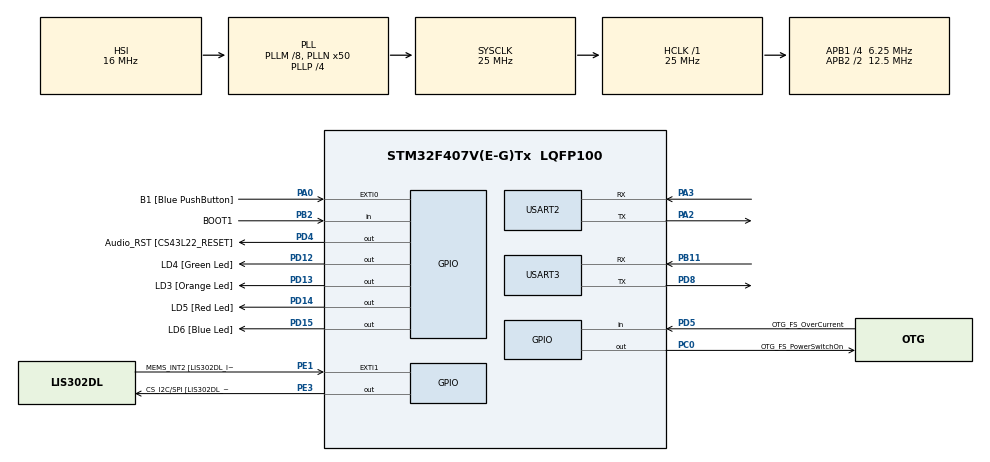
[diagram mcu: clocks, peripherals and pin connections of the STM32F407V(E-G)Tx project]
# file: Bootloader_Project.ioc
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Mcu.Family=STM32F4
Mcu.Name=STM32F407V(E-G)Tx
Mcu.Package=LQFP100
NVIC.PriorityGroup=NVIC_PRIORITYGROUP_0
PA0-WKUP.GPIO_Label=B1 [Blue PushButton]
PA0-WKUP.Signal=GPXTI0
PA10.GPIO_Label=OTG_FS_ID
PA10.GPIO_Mode=GPIO_MODE_AF_PP
PA10.GPIO_PuPd=GPIO_NOPULL
PA10.GPIO_Speed=GPIO_SPEED_FREQ_LOW
PA10.Signal=USB_OTG_FS_ID
PA11.GPIO_Label=OTG_FS_DM
PA11.GPIO_Mode=GPIO_MODE_AF_PP
PA11.GPIO_PuPd=GPIO_NOPULL
PA11.GPIO_Speed=GPIO_SPEED_FREQ_LOW
PA11.Signal=USB_OTG_FS_DM
PA12.GPIO_Label=OTG_FS_DP
PA12.GPIO_Mode=GPIO_MODE_AF_PP
PA12.GPIO_PuPd=GPIO_NOPULL
PA12.GPIO_Speed=GPIO_SPEED_FREQ_LOW
PA12.Signal=USB_OTG_FS_DP
PA13.GPIO_Label=SWDIO
PA13.Signal=SYS_JTMS-SWDIO
PA14.GPIO_Label=SWCLK
PA14.Signal=SYS_JTCK-SWCLK
PA2.Mode=Asynchronous
PA2.Signal=USART2_TX
PA3.Mode=Asynchronous
PA3.Signal=USART2_RX
PA4.GPIO_Label=I2S3_WS [CS43L22_LRCK]
PA4.GPIO_Mode=GPIO_MODE_AF_PP
PA4.GPIO_PuPd=GPIO_NOPULL
PA4.GPIO_Speed=GPIO_SPEED_FREQ_LOW
PA4.Signal=I2S3_WS
PA5.GPIO_Label=SPI1_SCK [LIS302DL_SCL/SPC]
PA5.GPIO_Mode=GPIO_MODE_AF_PP
PA5.GPIO_PuPd=GPIO_NOPULL
PA5.GPIO_Speed=GPIO_SPEED_FREQ_LOW
PA5.Signal=SPI1_SCK
PA6.GPIO_Label=SPI1_MISO [LIS302DL_SDO]
PA6.GPIO_Mode=GPIO_MODE_AF_PP
PA6.GPIO_PuPd=GPIO_NOPULL
PA6.GPIO_Speed=GPIO_SPEED_FREQ_LOW
PA6.Signal=SPI1_MISO
PA7.GPIO_Label=SPI1_MOSI [LIS302DL_SDA/SDI/SDO]
PA7.GPIO_Mode=GPIO_MODE_AF_PP
PA7.GPIO_PuPd=GPIO_NOPULL
PA7.GPIO_Speed=GPIO_SPEED_FREQ_LOW
PA7.Signal=SPI1_MOSI
PA9.GPIO_Label=VBUS_FS
PA9.GPIO_Mode=GPIO_MODE_INPUT
PA9.GPIO_PuPd=GPIO_NOPULL
PA9.Signal=USB_OTG_FS_VBUS
PB10.GPIO_Label=CLK_IN [MP45DT02_CLK]
PB10.GPIO_Mode=GPIO_MODE_AF_PP
PB10.GPIO_PuPd=GPIO_NOPULL
PB10.GPIO_Speed=GPIO_SPEED_FREQ_LOW
PB10.Signal=I2S2_CK
PB11.Mode=Asynchronous
PB11.Signal=USART3_RX
PB2.GPIO_Label=BOOT1
PB2.GPIO_Mode=GPIO_MODE_INPUT
PB2.GPIO_PuPd=GPIO_NOPULL
PB2.Signal=GPIO_Input
PB3.GPIO_Label=SWO
PB3.Signal=SYS_JTDO-SWO
PB6.GPIO_Label=Audio_SCL [CS43L22_SCL]
PB6.GPIO_Mode=GPIO_MODE_AF_OD
PB6.GPIO_PuPd=GPIO_NOPULL
PB6.GPIO_Speed=GPIO_SPEED_FREQ_LOW
PB6.Signal=I2C1_SCL
PB9.GPIO_Label=Audio_SDA [CS43L22_SDA]
PB9.GPIO_Mode=GPIO_MODE_AF_OD
PB9.GPIO_PuPd=GPIO_NOPULL
PB9.GPIO_Speed=GPIO_SPEED_FREQ_LOW
PB9.Signal=I2C1_SDA
PC0.GPIO_Label=OTG_FS_PowerSwitchOn
PC0.GPIO_PuPd=GPIO_NOPULL
PC0.GPIO_Speed=GPIO_SPEED_FREQ_LOW
PC0.PinState=GPIO_PIN_SET
PC0.Signal=GPIO_Output
PC10.GPIO_Label=I2S3_SCK [CS43L22_SCLK]
PC10.GPIO_Mode=GPIO_MODE_AF_PP
PC10.GPIO_PuPd=GPIO_NOPULL
PC10.GPIO_Speed=GPIO_SPEED_FREQ_LOW
PC10.Signal=I2S3_CK
PC12.GPIO_Label=I2S3_SD [CS43L22_SDIN]
PC12.GPIO_Mode=GPIO_MODE_AF_PP
PC12.GPIO_PuPd=GPIO_NOPULL
PC12.GPIO_Speed=GPIO_SPEED_FREQ_LOW
PC12.Signal=I2S3_SD
PC14-OSC32_IN.GPIO_Label=PC14-OSC32_IN
PC14-OSC32_IN.Signal=RCC_OSC32_IN
PC15-OSC32_OUT.GPIO_Label=PC15-OSC32_OUT
PC15-OSC32_OUT.Signal=RCC_OSC32_OUT
PC3.GPIO_Label=PDM_OUT [MP45DT02_DOUT]
PC3.GPIO_Mode=GPIO_MODE_AF_PP
PC3.GPIO_PuPd=GPIO_NOPULL
PC3.GPIO_Speed=GPIO_SPEED_FREQ_LOW
PC3.Signal=I2S2_SD
PC7.GPIO_Label=I2S3_MCK [CS43L22_MCLK]
PC7.GPIO_Mode=GPIO_MODE_AF_PP
PC7.GPIO_PuPd=GPIO_NOPULL
PC7.GPIO_Speed=GPIO_SPEED_FREQ_LOW
PC7.Signal=I2S3_MCK
PD12.GPIO_Label=LD4 [Green Led]
PD12.GPIO_PuPd=GPIO_NOPULL
PD12.GPIO_Speed=GPIO_SPEED_FREQ_LOW
PD12.Signal=GPIO_Output
PD13.GPIO_Label=LD3 [Orange Led]
PD13.GPIO_PuPd=GPIO_NOPULL
PD13.GPIO_Speed=GPIO_SPEED_FREQ_LOW
PD13.Signal=GPIO_Output
PD14.GPIO_Label=LD5 [Red Led]
PD14.GPIO_PuPd=GPIO_NOPULL
PD14.GPIO_Speed=GPIO_SPEED_FREQ_LOW
PD14.Signal=GPIO_Output
PD15.GPIO_Label=LD6 [Blue Led]
PD15.GPIO_PuPd=GPIO_NOPULL
PD15.GPIO_Speed=GPIO_SPEED_FREQ_LOW
PD15.Signal=GPIO_Output
PD4.GPIO_Label=Audio_RST [CS43L22_RESET]
PD4.GPIO_PuPd=GPIO_NOPULL
PD4.GPIO_Speed=GPIO_SPEED_FREQ_LOW
PD4.Signal=GPIO_Output
PD5.GPIO_Label=OTG_FS_OverCurrent
PD5.GPIO_Mode=GPIO_MODE_INPUT
PD5.GPIO_PuPd=GPIO_NOPULL
PD5.Signal=GPIO_Input
PD8.Mode=Asynchronous
PD8.Signal=USART3_TX
PE1.GPIO_Label=MEMS_INT2 [LIS302DL_INT2]
PE1.GPIO_ModeDefaultEXTI=GPIO_MODE_EVT_RISING
PE1.GPIO_PuPd=GPIO_NOPULL
PE1.Signal=GPXTI1
PE3.GPIO_Label=CS_I2C/SPI [LIS302DL_CS_I2C/SPI]
PE3.GPIO_PuPd=GPIO_NOPULL
PE3.GPIO_Speed=GPIO_SPEED_FREQ_LOW
PE3.Signal=GPIO_Output
PH0-OSC_IN.GPIO_Label=PH0-OSC_IN
PH0-OSC_IN.Signal=RCC_OSC_IN
PH1-OSC_OUT.GPIO_Label=PH1-OSC_OUT
PH1-OSC_OUT.Signal=RCC_OSC_OUT
ProjectManager.HeapSize=0x200
ProjectManager.StackSize=0x400
ProjectManager.TargetToolchain=MDK-ARM V5.32
RCC.48MHZClocksFreq_Value=14285714.285714285
RCC.AHBFreq_Value=25000000
RCC.APB1CLKDivider=RCC_HCLK_DIV4
RCC.APB1Freq_Value=6250000
RCC.APB1TimFreq_Value=12500000
RCC.APB2CLKDivider=RCC_HCLK_DIV2
RCC.APB2Freq_Value=12500000
RCC.APB2TimFreq_Value=25000000
RCC.CortexFreq_Value=25000000
RCC.HCLKFreq_Value=25000000
RCC.HSE_VALUE=8000000
RCC.HSI_VALUE=16000000
RCC.LSE_VALUE=32768
RCC.PLLM=8
RCC.PLLN=50
RCC.PLLP=RCC_PLLP_DIV4
RCC.PLLQ=7
RCC.SYSCLKFreq_VALUE=25000000
RCC.SYSCLKSource=RCC_SYSCLKSOURCE_PLLCLK
RCC.VCOOutputFreq_Value=100000000
USART2.VirtualMode=VM_ASYNC
USART3.VirtualMode=VM_ASYNC
VP_CRC_VS_CRC.Mode=CRC_Activate
board=STM32F407G-DISC1

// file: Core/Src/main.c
/* USER CODE BEGIN Header */
/**
  ******************************************************************************
  * @file           : main.c
  * @brief          : Main program body
  ******************************************************************************
  * @attention
  *
  * Copyright (c) 2023 STMicroelectronics.
  * All rights reserved.
  *
  * This software is licensed under terms that can be found in the LICENSE file
  * in the root directory of this software component.
  * If no LICENSE file comes with this software, it is provided AS-IS.
  *
  ******************************************************************************
  */
/* USER CODE END Header */
#include "main.h"
#include "string.h"
#include "stm32f4xx_hal.h"

/* USER CODE BEGIN PM */
#define MAX_COMMAND_LEN 100
/* USER CODE END PM */

CRC_HandleTypeDef hcrc;

UART_HandleTypeDef huart2;
UART_HandleTypeDef huart3;

/* USER CODE BEGIN PV */
uint8_t Command_Rcv_Buffer[MAX_COMMAND_LEN];

/* USER CODE END PV */

void SystemClock_Config(void);
static void MX_GPIO_Init(void);
static void MX_CRC_Init(void);
static void MX_USART2_UART_Init(void);
static void MX_USART3_UART_Init(void);

int main(void)
{
  /* USER CODE BEGIN 1 */
     uint32_t tick_cnt;
  /* USER CODE END 1 */

  /* MCU Configuration--------------------------------------------------------*/

  /* Reset of all peripherals, Initializes the Flash interface and the Systick. */
  HAL_Init();

  /* Configure the system clock */
  SystemClock_Config();

  /* Initialize all configured peripherals */
  MX_GPIO_Init();
  MX_CRC_Init();
  MX_USART2_UART_Init();
  MX_USART3_UART_Init();

  /* Infinite loop */
  while (1)
  {
		//When button is pressed
		if(GPIO_PIN_SET == HAL_GPIO_ReadPin(B1_GPIO_Port, B1_Pin))
		{
			bootloader_uart_read_data();
		}
		else
		{
			bootloader_jump_to_usr_application();
		}
  }
}

void SystemClock_Config(void)
{
  RCC_OscInitTypeDef RCC_OscInitStruct = {0};
  RCC_ClkInitTypeDef RCC_ClkInitStruct = {0};

  /** Configure the main internal regulator output voltage
  */
  __HAL_RCC_PWR_CLK_ENABLE();
  __HAL_PWR_VOLTAGESCALING_CONFIG(PWR_REGULATOR_VOLTAGE_SCALE1);

  /** Initializes the RCC Oscillators according to the specified parameters
  * in the RCC_OscInitTypeDef structure.
  */
  RCC_OscInitStruct.OscillatorType = RCC_OSCILLATORTYPE_HSI;
  RCC_OscInitStruct.HSIState = RCC_HSI_ON;
  RCC_OscInitStruct.HSICalibrationValue = RCC_HSICALIBRATION_DEFAULT;
  RCC_OscInitStruct.PLL.PLLState = RCC_PLL_ON;
  RCC_OscInitStruct.PLL.PLLSource = RCC_PLLSOURCE_HSI;
  RCC_OscInitStruct.PLL.PLLM = 8;
  RCC_OscInitStruct.PLL.PLLN = 50;
  RCC_OscInitStruct.PLL.PLLP = RCC_PLLP_DIV4;
  RCC_OscInitStruct.PLL.PLLQ = 7;
  if (HAL_RCC_OscConfig(&RCC_OscInitStruct) != HAL_OK)
  {
    Error_Handler();
  }

  /** Initializes the CPU, AHB and APB buses clocks
  */
  RCC_ClkInitStruct.ClockType = RCC_CLOCKTYPE_HCLK|RCC_CLOCKTYPE_SYSCLK
                              |RCC_CLOCKTYPE_PCLK1|RCC_CLOCKTYPE_PCLK2;
  RCC_ClkInitStruct.SYSCLKSource = RCC_SYSCLKSOURCE_PLLCLK;
  RCC_ClkInitStruct.AHBCLKDivider = RCC_SYSCLK_DIV1;
  RCC_ClkInitStruct.APB1CLKDivider = RCC_HCLK_DIV4;
  RCC_ClkInitStruct.APB2CLKDivider = RCC_HCLK_DIV2;

  if (HAL_RCC_ClockConfig(&RCC_ClkInitStruct, FLASH_LATENCY_0) != HAL_OK)
  {
    Error_Handler();
  }
}

static void MX_CRC_Init(void)
{

  hcrc.Instance = CRC;
  if (HAL_CRC_Init(&hcrc) != HAL_OK)
  {
    Error_Handler();
  }

}

static void MX_USART2_UART_Init(void)
{

  huart2.Instance = USART2;
  huart2.Init.BaudRate = 115200;
  huart2.Init.WordLength = UART_WORDLENGTH_8B;
  huart2.Init.StopBits = UART_STOPBITS_1;
  huart2.Init.Parity = UART_PARITY_NONE;
  huart2.Init.Mode = UART_MODE_TX_RX;
  huart2.Init.HwFlowCtl = UART_HWCONTROL_NONE;
  huart2.Init.OverSampling = UART_OVERSAMPLING_16;
  if (HAL_UART_Init(&huart2) != HAL_OK)
  {
    Error_Handler();
  }

}

static void MX_USART3_UART_Init(void)
{

  huart3.Instance = USART3;
  huart3.Init.BaudRate = 115200;
  huart3.Init.WordLength = UART_WORDLENGTH_8B;
  huart3.Init.StopBits = UART_STOPBITS_1;
  huart3.Init.Parity = UART_PARITY_NONE;
  huart3.Init.Mode = UART_MODE_TX_RX;
  huart3.Init.HwFlowCtl = UART_HWCONTROL_NONE;
  huart3.Init.OverSampling = UART_OVERSAMPLING_16;
  if (HAL_UART_Init(&huart3) != HAL_OK)
  {
    Error_Handler();
  }

}

static void MX_GPIO_Init(void)
{
  GPIO_InitTypeDef GPIO_InitStruct = {0};

  /* GPIO Ports Clock Enable */
  __HAL_RCC_GPIOE_CLK_ENABLE();
  __HAL_RCC_GPIOC_CLK_ENABLE();
  __HAL_RCC_GPIOH_CLK_ENABLE();
  __HAL_RCC_GPIOA_CLK_ENABLE();
  __HAL_RCC_GPIOB_CLK_ENABLE();
  __HAL_RCC_GPIOD_CLK_ENABLE();

  /*Configure GPIO pin Output Level */
  HAL_GPIO_WritePin(CS_I2C_SPI_GPIO_Port, CS_I2C_SPI_Pin, GPIO_PIN_RESET);

  /*Configure GPIO pin Output Level */
  HAL_GPIO_WritePin(OTG_FS_PowerSwitchOn_GPIO_Port, OTG_FS_PowerSwitchOn_Pin, GPIO_PIN_SET);

  /*Configure GPIO pin Output Level */
  HAL_GPIO_WritePin(GPIOD, LD4_Pin|LD3_Pin|LD5_Pin|LD6_Pin
                          |Audio_RST_Pin, GPIO_PIN_RESET);

  /*Configure GPIO pin : CS_I2C_SPI_Pin */
  GPIO_InitStruct.Pin = CS_I2C_SPI_Pin;
  GPIO_InitStruct.Mode = GPIO_MODE_OUTPUT_PP;
  GPIO_InitStruct.Pull = GPIO_NOPULL;
  GPIO_InitStruct.Speed = GPIO_SPEED_FREQ_LOW;
  HAL_GPIO_Init(CS_I2C_SPI_GPIO_Port, &GPIO_InitStruct);

  /*Configure GPIO pin : OTG_FS_PowerSwitchOn_Pin */
  GPIO_InitStruct.Pin = OTG_FS_PowerSwitchOn_Pin;
  GPIO_InitStruct.Mode = GPIO_MODE_OUTPUT_PP;
  GPIO_InitStruct.Pull = GPIO_NOPULL;
  GPIO_InitStruct.Speed = GPIO_SPEED_FREQ_LOW;
  HAL_GPIO_Init(OTG_FS_PowerSwitchOn_GPIO_Port, &GPIO_InitStruct);

  /*Configure GPIO pin : PDM_OUT_Pin */
  GPIO_InitStruct.Pin = PDM_OUT_Pin;
  GPIO_InitStruct.Mode = GPIO_MODE_AF_PP;
  GPIO_InitStruct.Pull = GPIO_NOPULL;
  GPIO_InitStruct.Speed = GPIO_SPEED_FREQ_LOW;
  GPIO_InitStruct.Alternate = GPIO_AF5_SPI2;
  HAL_GPIO_Init(PDM_OUT_GPIO_Port, &GPIO_InitStruct);

  /*Configure GPIO pin : B1_Pin */
  GPIO_InitStruct.Pin = B1_Pin;
  GPIO_InitStruct.Mode = GPIO_MODE_IT_RISING;
  GPIO_InitStruct.Pull = GPIO_NOPULL;
  HAL_GPIO_Init(B1_GPIO_Port, &GPIO_InitStruct);

  /*Configure GPIO pin : I2S3_WS_Pin */
  GPIO_InitStruct.Pin = I2S3_WS_Pin;
  GPIO_InitStruct.Mode = GPIO_MODE_AF_PP;
  GPIO_InitStruct.Pull = GPIO_NOPULL;
  GPIO_InitStruct.Speed = GPIO_SPEED_FREQ_LOW;
  GPIO_InitStruct.Alternate = GPIO_AF6_SPI3;
  HAL_GPIO_Init(I2S3_WS_GPIO_Port, &GPIO_InitStruct);

  /*Configure GPIO pins : SPI1_SCK_Pin SPI1_MISO_Pin SPI1_MOSI_Pin */
  GPIO_InitStruct.Pin = SPI1_SCK_Pin|SPI1_MISO_Pin|SPI1_MOSI_Pin;
  GPIO_InitStruct.Mode = GPIO_MODE_AF_PP;
  GPIO_InitStruct.Pull = GPIO_NOPULL;
  GPIO_InitStruct.Speed = GPIO_SPEED_FREQ_LOW;
  GPIO_InitStruct.Alternate = GPIO_AF5_SPI1;
  HAL_GPIO_Init(GPIOA, &GPIO_InitStruct);

  /*Configure GPIO pin : BOOT1_Pin */
  GPIO_InitStruct.Pin = BOOT1_Pin;
  GPIO_InitStruct.Mode = GPIO_MODE_INPUT;
  GPIO_InitStruct.Pull = GPIO_NOPULL;
  HAL_GPIO_Init(BOOT1_GPIO_Port, &GPIO_InitStruct);

  /*Configure GPIO pin : CLK_IN_Pin */
  GPIO_InitStruct.Pin = CLK_IN_Pin;
  GPIO_InitStruct.Mode = GPIO_MODE_AF_PP;
  GPIO_InitStruct.Pull = GPIO_NOPULL;
  GPIO_InitStruct.Speed = GPIO_SPEED_FREQ_LOW;
  GPIO_InitStruct.Alternate = GPIO_AF5_SPI2;
  HAL_GPIO_Init(CLK_IN_GPIO_Port, &GPIO_InitStruct);

  /*Configure GPIO pins : LD4_Pin LD3_Pin LD5_Pin LD6_Pin
                           Audio_RST_Pin */
  GPIO_InitStruct.Pin = LD4_Pin|LD3_Pin|LD5_Pin|LD6_Pin
                          |Audio_RST_Pin;
  GPIO_InitStruct.Mode = GPIO_MODE_OUTPUT_PP;
  GPIO_InitStruct.Pull = GPIO_NOPULL;
  GPIO_InitStruct.Speed = GPIO_SPEED_FREQ_LOW;
  HAL_GPIO_Init(GPIOD, &GPIO_InitStruct);

  /*Configure GPIO pins : I2S3_MCK_Pin I2S3_SCK_Pin I2S3_SD_Pin */
  GPIO_InitStruct.Pin = I2S3_MCK_Pin|I2S3_SCK_Pin|I2S3_SD_Pin;
  GPIO_InitStruct.Mode = GPIO_MODE_AF_PP;
  GPIO_InitStruct.Pull = GPIO_NOPULL;
  GPIO_InitStruct.Speed = GPIO_SPEED_FREQ_LOW;
  GPIO_InitStruct.Alternate = GPIO_AF6_SPI3;
  HAL_GPIO_Init(GPIOC, &GPIO_InitStruct);

  /*Configure GPIO pin : VBUS_FS_Pin */
  GPIO_InitStruct.Pin = VBUS_FS_Pin;
  GPIO_InitStruct.Mode = GPIO_MODE_INPUT;
  GPIO_InitStruct.Pull = GPIO_NOPULL;
  HAL_GPIO_Init(VBUS_FS_GPIO_Port, &GPIO_InitStruct);

  /*Configure GPIO pins : OTG_FS_ID_Pin OTG_FS_DM_Pin OTG_FS_DP_Pin */
  GPIO_InitStruct.Pin = OTG_FS_ID_Pin|OTG_FS_DM_Pin|OTG_FS_DP_Pin;
  GPIO_InitStruct.Mode = GPIO_MODE_AF_PP;
  GPIO_InitStruct.Pull = GPIO_NOPULL;
  GPIO_InitStruct.Speed = GPIO_SPEED_FREQ_LOW;
  GPIO_InitStruct.Alternate = GPIO_AF10_OTG_FS;
  HAL_GPIO_Init(GPIOA, &GPIO_InitStruct);

  /*Configure GPIO pin : OTG_FS_OverCurrent_Pin */
  GPIO_InitStruct.Pin = OTG_FS_OverCurrent_Pin;
  GPIO_InitStruct.Mode = GPIO_MODE_INPUT;
  GPIO_InitStruct.Pull = GPIO_NOPULL;
  HAL_GPIO_Init(OTG_FS_OverCurrent_GPIO_Port, &GPIO_InitStruct);

  /*Configure GPIO pins : Audio_SCL_Pin Audio_SDA_Pin */
  GPIO_InitStruct.Pin = Audio_SCL_Pin|Audio_SDA_Pin;
  GPIO_InitStruct.Mode = GPIO_MODE_AF_OD;
  GPIO_InitStruct.Pull = GPIO_NOPULL;
  GPIO_InitStruct.Speed = GPIO_SPEED_FREQ_LOW;
  GPIO_InitStruct.Alternate = GPIO_AF4_I2C1;
  HAL_GPIO_Init(GPIOB, &GPIO_InitStruct);

  /*Configure GPIO pin : MEMS_INT2_Pin */
  GPIO_InitStruct.Pin = MEMS_INT2_Pin;
  GPIO_InitStruct.Mode = GPIO_MODE_EVT_RISING;
  GPIO_InitStruct.Pull = GPIO_NOPULL;
  HAL_GPIO_Init(MEMS_INT2_GPIO_Port, &GPIO_InitStruct);

}

/* USER CODE BEGIN 4 */
/*
Description : used to send ack to host
*/
void bootloader_send_ack(uint8_t len)
{
	uint8_t ack_data_buffer[2];
	ack_data_buffer[0] = BOOTLOADER_ACK;
	ack_data_buffer[1] = len;
	HAL_UART_Transmit(&huart2, ack_data_buffer, 2, HAL_MAX_DELAY);
}

/*
Description : send nack
*/
void bootloader_send_nack(void)
{
	uint8_t nack_data_buffer = BOOTLOADER_NACK;
	HAL_UART_Transmit(&huart2, &nack_data_buffer, 1, HAL_MAX_DELAY);
}

/*
Description : Verify CRC
*/
uint8_t Verify_CRC(uint8_t *received_data, uint8_t len, uint32_t target_CRC)
{
	uint32_t accumulated_crc = 0xFF;
	uint32_t i_data;
	for(int i=0; i< len; i++)
	{
		i_data = received_data[i];
		accumulated_crc = HAL_CRC_Accumulate(&hcrc, &i_data, 1);
	}
	if(accumulated_crc == target_CRC)
	{
		return VERIFY_CRC_SUCCESS;
	}
	else
	{
		return VERIFY_CRC_FAIL;
	}
}

/*
Description : get boot loader version
*/
uint8_t get_bootloader_version(void)
{
	return BOOTLOADER_VERSION;
}

/*
Description : get bootloader version cmd handler
*/
void Bootloader_handle_get_version_cmd(uint8_t *received_data)
{
	uint8_t bootloader_ver;
	uint8_t cmd_len = received_data[0]+1;
	uint32_t host_crc = *((uint32_t * ) (received_data+cmd_len - 4) ) ;

	if(VERIFY_CRC_SUCCESS == Verify_CRC(&received_data[0], cmd_len-4, host_crc))
	{
		//send ack
		bootloader_send_ack(BOOTLOADER_VERSION_RESPONSE_LEN);
		//get bootloader version
		bootloader_ver = get_bootloader_version();
		//bootloader uart write data
		HAL_UART_Transmit(&huart2, &bootloader_ver, BOOTLOADER_VERSION_RESPONSE_LEN, HAL_MAX_DELAY);
	}
	else
	{
		//send nack
		bootloader_send_nack();
	}
}

/*
Description : get boot loader commands
*/
void Bootloader_get_help_cmd(uint8_t *received_data)
{
	uint8_t supported_cmd_arr[] = {
																	BL_GET_VER,
																	BL_GET_CID,
																	BL_GET_HELP,
																	BL_GET_RDP_STATUS,
																	BL_GO_TO_ADDR,
																	BL_FLASH_ERASE,
																	BL_MEM_WRITE,
																	BL_ENABLE_R_W_PROTECT,
																	BL_MEM_READ,
																	BL_READ_SECTOR_STATUS,
																	BL_OTP_READ,
																	BL_DIS_R_W_PROTECT
																};
	uint8_t cmd_len = received_data[0]+1;
	uint32_t host_crc = *((uint32_t * ) (received_data+cmd_len - 4) ) ;

	if(VERIFY_CRC_SUCCESS == Verify_CRC(received_data, cmd_len - 4, host_crc))
	{
		bootloader_send_ack(sizeof(supported_cmd_arr));
		HAL_UART_Transmit(&huart2, supported_cmd_arr, sizeof(supported_cmd_arr), HAL_MAX_DELAY);
	}
	else
	{
		bootloader_send_nack();
	}
}
/*
Description : get bootloader CID
*/
uint16_t get_chip_id(void)
{
	uint16_t Chip_ID = (DBGMCU->IDCODE)&0x0FFF;;
	return Chip_ID;
}

/*
Description : get bootloader CID command handler
*/
void Bootloader_handle_get_cid_cmd(uint8_t *received_data)
{
	uint16_t Chip_ID;
	uint8_t cmd_len = received_data[0]+1;
	uint32_t host_crc = *((uint32_t * ) (received_data+cmd_len - 4) ) ;
	//get chip ID
	Chip_ID = get_chip_id();
	//check CRC
	if(VERIFY_CRC_SUCCESS == Verify_CRC(received_data, cmd_len-4, host_crc))
	{
		bootloader_send_ack(BOOTLOADER_CID_RESPONSE_LEN);
		HAL_UART_Transmit(&huart2, (uint8_t *)&Chip_ID, BOOTLOADER_CID_RESPONSE_LEN, HAL_MAX_DELAY);
	}
	else
	{
		bootloader_send_nack();
	}
}
/*

Description : Get boot loader RDP status
*/
uint8_t get_rdp_status(void)
{
	return ((FLASH->OPTCR)&0xFF00);
}
/*
Description : Get boot loader RDP status command handler
*/
void Bootloader_get_rdp_status_cmd(uint8_t *received_data)
{
	uint8_t rdp_status;
	uint8_t cmd_len = received_data[0]+1;
	uint32_t host_crc = *((uint32_t * ) (received_data+cmd_len - 4) ) ;
	//get read protection level
	rdp_status = get_rdp_status();
	//check CRC
	if(VERIFY_CRC_SUCCESS == Verify_CRC(received_data, cmd_len-4, host_crc))
	{
		bootloader_send_ack(BOOTLOADER_RDP_RESPONSE_LEN);
		HAL_UART_Transmit(&huart2, &rdp_status, BOOTLOADER_RDP_RESPONSE_LEN, HAL_MAX_DELAY);
	}
	else
	{
		bootloader_send_nack();
	}
}

/*
Description : redirect bootloader to an address
*/
void Bootloader_goto_addr_cmd(uint8_t *received_data)
{
	uint32_t *goto_address;
	uint8_t addr_validity_ack;
	uint8_t cmd_len = received_data[0]+1;
	uint32_t host_crc = *((uint32_t * ) (received_data+cmd_len - 4) ) ;

	//check CRC
	if(VERIFY_CRC_SUCCESS == Verify_CRC(received_data, cmd_len-4, host_crc))
	{
		bootloader_send_ack(BOOTLOADER_GOTO_ADDR_RESPONSE_LEN);
		//extract go-to address
		goto_address = (uint32_t *)&received_data[2];
		goto_address+=1;
		//check address validity
		addr_validity_ack = check_address_validity(goto_address);
		HAL_UART_Transmit(&huart2, &addr_validity_ack, BOOTLOADER_GOTO_ADDR_RESPONSE_LEN, HAL_MAX_DELAY);
		if(addr_validity_ack == VALID_ADDRESS)
		{
			void (*jump_add)(void) = (void *)goto_address;
			jump_add();
		}
	}
	else
	{
		bootloader_send_nack();
	}
}
/*
Description : To be fully implemented
*/
uint8_t check_address_validity(uint32_t *goto_address)
{
	return 0;
}
/*
Description : erase flash cmd handler
*/
void Bootloader_erase_flash_cmd(uint8_t *received_data)
{
	uint8_t sector_number;
	uint8_t number_of_sectors;
	uint8_t cmd_len = received_data[0]+1;
	uint32_t sector_error;
	HAL_StatusTypeDef ret_val;
	FLASH_EraseInitTypeDef flash_erase = {
																					FLASH_TYPEERASE_SECTORS,
																					sector_number,
																					FLASH_SECTOR_0,
																					number_of_sectors,
																					FLASH_VOLTAGE_RANGE_3
																				};
	uint32_t host_crc = *((uint32_t * ) (received_data+cmd_len - 4) ) ;
	//get sector number and number of sectors
	sector_number = received_data[2];
	number_of_sectors = received_data[3];
	//check CRC
	if(VERIFY_CRC_SUCCESS == Verify_CRC(received_data, cmd_len-4, host_crc))
	{
		bootloader_send_ack(BOOTLOADER_MEM_ERASE_RESPONSE_LEN);
		ret_val = HAL_FLASHEx_Erase(&flash_erase, &sector_error);
		HAL_UART_Transmit(&huart2, &ret_val, BOOTLOADER_MEM_ERASE_RESPONSE_LEN, HAL_MAX_DELAY);
	}
	else
	{
		bootloader_send_nack();
	}
}

/*
Description : memory write cmd handler
*/
void Bootloader_mem_write_cmd(uint8_t *received_data)
{
	uint8_t cmd_len = received_data[0]+1;
	uint32_t base_memory_add =  *(uint32_t *)&received_data[2];
	uint8_t *payload = &received_data[7];
	uint8_t payload_len = received_data[6];

	HAL_StatusTypeDef ret_val;
	uint32_t host_crc = *((uint32_t * ) (received_data+cmd_len - 4) ) ;
	//check CRC
	if(VERIFY_CRC_SUCCESS == Verify_CRC(received_data, cmd_len-4, host_crc))
	{
		bootloader_send_ack(1);
		if(check_address_validity((uint32_t *)base_memory_add))
		{
			HAL_FLASH_Unlock();
			for(int i=0; i<payload_len; i++)
			{
				ret_val = HAL_FLASH_Program(FLASH_TYPEPROGRAM_BYTE, (uint32_t)base_memory_add+i, payload[i]);
			}
			HAL_FLASH_Lock();
		}
		HAL_UART_Transmit(&huart2, &ret_val, 1, HAL_MAX_DELAY);
	}
	else
	{
		bootloader_send_nack();
	}
}

/*
Description : read write protect command handler
*/
void Bootloader_enable_rw_protect_cmd(uint8_t *received_data)
{

}

/*
Description : memory read cmd handler
*/
void Bootloader_mem_read_cmd(uint8_t *received_data)
{

}

/*
Description : command handler for reading the protection level of sectors
*/
void Bootloader_read_sector_status_cmd(uint8_t *received_data)
{

}

/*
Description : otp read cmd handler
*/
void Bootloader_otp_read_cmd(uint8_t *received_data)
{

}

/*
Description : disables the protection level for sectors
*/
void Bootloader_diable_rw_protect_cmd(uint8_t *received_data)
{

}

/*
Description : When bootloader mode is enabled, user jump to this function
							and all the bootloader commands are handled in this function
*/
void bootloader_uart_read_data(void)
{
	uint8_t cmd_len;
	while(1)
	{
		memset(Command_Rcv_Buffer, 0, 100);
		//Reading cmd length
		HAL_UART_Receive(&huart2, &Command_Rcv_Buffer[0], 1, HAL_MAX_DELAY);
		cmd_len = Command_Rcv_Buffer[0];
		//Reading remaining command
		HAL_UART_Receive(&huart2, &Command_Rcv_Buffer[1], cmd_len, HAL_MAX_DELAY);
		switch(Command_Rcv_Buffer[1])
		{
			case BL_GET_VER:
				Bootloader_handle_get_version_cmd(Command_Rcv_Buffer);
				break;
			case BL_GET_HELP:
				Bootloader_get_help_cmd(Command_Rcv_Buffer);
				break;
			case BL_GET_CID:
				Bootloader_handle_get_cid_cmd(Command_Rcv_Buffer);
				break;
			case BL_GET_RDP_STATUS:
				Bootloader_get_rdp_status_cmd(Command_Rcv_Buffer);
				break;
			case BL_GO_TO_ADDR:
				Bootloader_goto_addr_cmd(Command_Rcv_Buffer);
				break;
			case BL_FLASH_ERASE:
				Bootloader_erase_flash_cmd(Command_Rcv_Buffer);
				break;
			case BL_MEM_WRITE:
				Bootloader_mem_write_cmd(Command_Rcv_Buffer);
				break;
			/*To be implemented*/
			case BL_ENABLE_R_W_PROTECT:
				Bootloader_enable_rw_protect_cmd(Command_Rcv_Buffer);
				break;
			/*To be implemented*/
			case BL_MEM_READ:
				Bootloader_mem_read_cmd(Command_Rcv_Buffer);
				break;
			/*To be implemented*/
			case BL_READ_SECTOR_STATUS:
				Bootloader_read_sector_status_cmd(Command_Rcv_Buffer);
				break;
			/*To be implemented*/
			case BL_OTP_READ:
				Bootloader_otp_read_cmd(Command_Rcv_Buffer);
				break;
			/*To be implemented*/
			case BL_DIS_R_W_PROTECT:
				Bootloader_diable_rw_protect_cmd(Command_Rcv_Buffer);
				break;
			default:
				break;
		}
	}
}

/*
Description : When bootloader mode is not enabled execution jump to this function
*/
void bootloader_jump_to_usr_application(void)
{
	//Declaration of function pointer
	void (*app_reset_handler)(void);

	//Reading MSP value of user application
	uint32_t msp_value = *(volatile uint32_t *)FLASH_SECTOR2_BASE_ADDRESS;

	//Setting MSP value
	__set_MSP(msp_value);

	//retrive the value of reset handler
	uint32_t reset_handler = *(volatile uint32_t *)(FLASH_SECTOR2_BASE_ADDRESS+4);

	//setting the function pointer to reset handler
	app_reset_handler = (void *)reset_handler;

	//Jumping to reset handler of user application
	app_reset_handler();
}
/* USER CODE END 4 */

void Error_Handler(void)
{
  __disable_irq();
  while (1)
  {
  }
}
